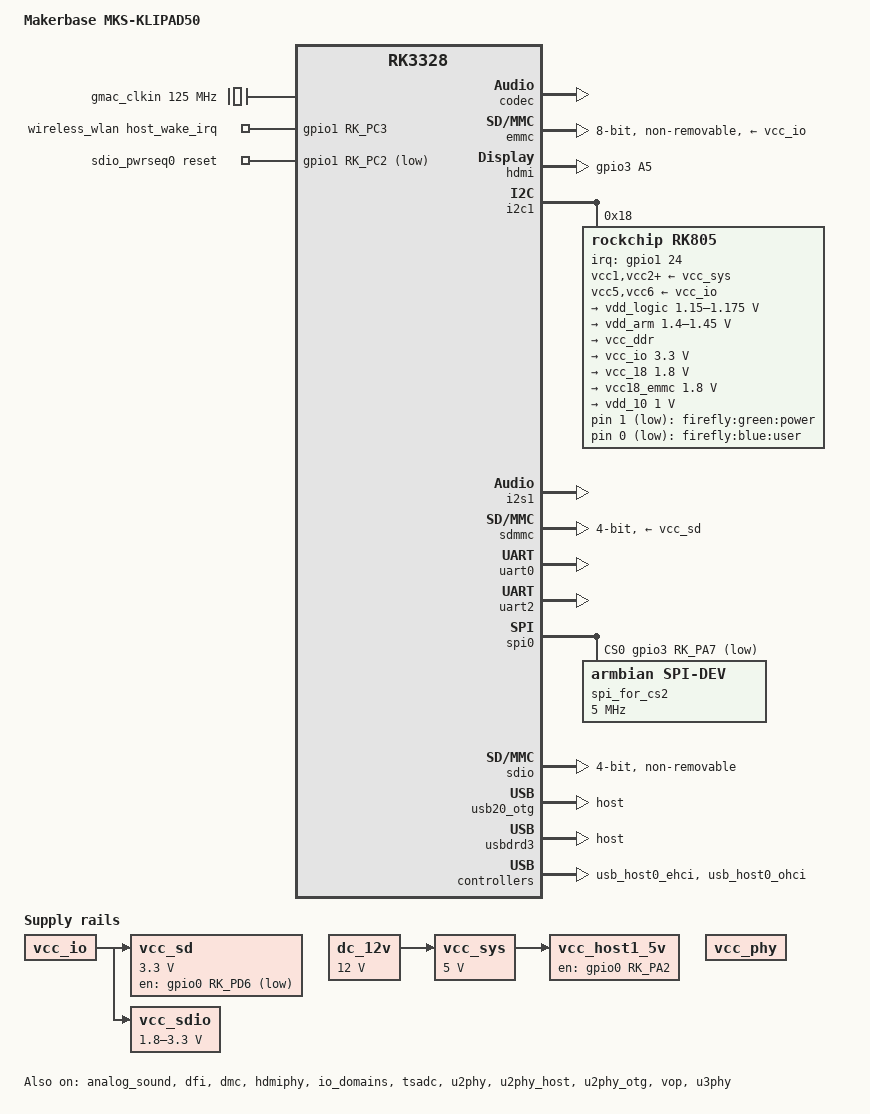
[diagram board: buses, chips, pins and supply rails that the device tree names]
// SPDX-License-Identifier: (GPL-2.0+ OR MIT)
/*
 * Based on rk3328-roc-cc.dtb from original MKS-Klipad50 image
 *
 * Copyright (c) 2025 Thorsten Maerz
 */

/dts-v1/;
#include "rk3328-dram-renegade-timing.dtsi"
#include "rk3328.dtsi"

/ {
	model = "Makerbase MKS-KLIPAD50";
	compatible = "mks,rk3328-mksklipad50", "mks,rk3328-mkspi", "rockchip,rk3328";

	aliases {
		ethernet0 = &gmac2io;
		ethernet1 = &gmac2phy;
		mmc0 = &sdmmc;
		mmc1 = &emmc;
	};

	chosen {
		stdout-path = "serial2:1500000n8";
	};

	/delete-node/ dmc-opp-table;
	dmc_opp_table: dmc-opp-table {
		compatible = "operating-points-v2";

		opp-786000000 {
			opp-hz = /bits/ 64 <786000000>;
			opp-microvolt = <1075000 1075000 12000000>;
			status = "disabled";
		};
		opp-798000000 {
			opp-hz = /bits/ 64 <798000000>;
			opp-microvolt = <1075000 1075000 12000000>;
			status = "disabled";
		};
		opp-840000000 {
			opp-hz = /bits/ 64 <840000000>;
			opp-microvolt = <1075000 1075000 12000000>;
		};
		opp-924000000 {
			opp-hz = /bits/ 64 <924000000>;
			opp-microvolt = <1100000 1100000 12000000>;
		};
		opp-1068000000 {
			opp-hz = /bits/ 64 <1068000000>;
			opp-microvolt = <1175000 1175000 12000000>;
		};
	};

	gmac_clkin: external-gmac-clock {
		compatible = "fixed-clock";
		clock-frequency = <125000000>;
		clock-output-names = "gmac_clkin";
		#clock-cells = <0>;
	};

	dc_12v: dc-12v {
		compatible = "regulator-fixed";
		regulator-name = "dc_12v";
		regulator-always-on;
		regulator-boot-on;
		regulator-min-microvolt = <12000000>;
		regulator-max-microvolt = <12000000>;
	};

	vcc_sd: sdmmc-regulator {
		compatible = "regulator-fixed";
		gpio = <&gpio0 RK_PD6 GPIO_ACTIVE_HIGH>;
		pinctrl-names = "default";
		pinctrl-0 = <&sdmmc0m1_pin>;
		regulator-boot-on;
		regulator-name = "vcc_sd";
		regulator-min-microvolt = <3300000>;
		regulator-max-microvolt = <3300000>;
		vin-supply = <&vcc_io>;
	};

	vcc_sdio: sdmmcio-regulator {
		compatible = "regulator-gpio";
		gpios = <&gpio2 RK_PC4 GPIO_ACTIVE_HIGH>;
		pinctrl-0 = <&sdio_vcc_pin>;
		pinctrl-names = "default";
		states = <1800000 0x0>,
			 <3300000 0x1>;
		regulator-name = "vcc_sdio";
		regulator-type = "voltage";
		regulator-min-microvolt = <1800000>;
		regulator-settling-time-us = <5000>;
		startup-delay-us = <2000>;
		regulator-max-microvolt = <3300000>;
		regulator-always-on;
		vin-supply = <&vcc_io>;
	};

	vcc_host1_5v: vcc_otg_5v: vcc-host1-5v-regulator {
		compatible = "regulator-fixed";
		enable-active-high;
		gpio = <&gpio0 RK_PA2 GPIO_ACTIVE_HIGH>;
		pinctrl-names = "default";
		pinctrl-0 = <&usb20_host_drv>;
		regulator-name = "vcc_host1_5v";
		regulator-always-on;
		vin-supply = <&vcc_sys>;
	};

	vcc_sys: vcc-sys {
		compatible = "regulator-fixed";
		regulator-name = "vcc_sys";
		regulator-always-on;
		regulator-boot-on;
		regulator-min-microvolt = <5000000>;
		regulator-max-microvolt = <5000000>;
		vin-supply = <&dc_12v>;
	};

	vcc_phy: vcc-phy-regulator {
		compatible = "regulator-fixed";
		regulator-name = "vcc_phy";
		regulator-always-on;
		regulator-boot-on;
	};

	leds {
		compatible = "gpio-leds";

		power_led: led-0 {
			label = "firefly:green:power";
			linux,default-trigger = "heartbeat";
			gpios = <&rk805 1 GPIO_ACTIVE_LOW>;
			default-state = "on";
			mode = <0x23>;
		};

		user_led: led-1 {
			label = "firefly:blue:user";
			linux,default-trigger = "activity";
			gpios = <&rk805 0 GPIO_ACTIVE_LOW>;
			default-state = "off";
			mode = <0x05>;
		};
	};

	usb3phy_grf: syscon@ff460000 {
		compatible = "rockchip,usb3phy-grf", "syscon";
		reg = <0x0 0xff460000 0x0 0x1000>;
	};

	u3phy: usb3-phy@ff470000 {
		compatible = "rockchip,rk3328-u3phy";
		reg = <0x0 0xff470000 0x0 0x0>;
		rockchip,u3phygrf = <&usb3phy_grf>;
		rockchip,grf = <&grf>;
		interrupts = <GIC_SPI 77 IRQ_TYPE_LEVEL_HIGH>;
		interrupt-names = "linestate";
		clocks = <&cru PCLK_USB3PHY_OTG>, <&cru PCLK_USB3PHY_PIPE>;
		clock-names = "u3phy-otg", "u3phy-pipe";
		resets = <&cru SRST_USB3PHY_U2>,
			 <&cru SRST_USB3PHY_U3>,
			 <&cru SRST_USB3PHY_PIPE>,
			 <&cru SRST_USB3OTG_UTMI>,
			 <&cru SRST_USB3PHY_OTG_P>,
			 <&cru SRST_USB3PHY_PIPE_P>;
		reset-names = "u3phy-u2-por", "u3phy-u3-por",
			      "u3phy-pipe-mac", "u3phy-utmi-mac",
			      "u3phy-utmi-apb", "u3phy-pipe-apb";
		#address-cells = <2>;
		#size-cells = <2>;
		ranges;
		status = "okay";

		u3phy_utmi: utmi@ff470000 {
			reg = <0x0 0xff470000 0x0 0x8000>;
			#phy-cells = <0>;
			status = "okay";
		};

		u3phy_pipe: pipe@ff478000 {
			reg = <0x0 0xff478000 0x0 0x8000>;
			#phy-cells = <0>;
			status = "okay";
		};
	};

	wireless_wlan: wireless-wlan {
		compatible = "wlan-platdata";
		rockchip,grf = <&grf>;
		sdio_vref = <3300>;
		status = "okay";
		WIFI,host_wake_irq = <&gpio1 RK_PC3 GPIO_ACTIVE_HIGH>;
		wifi_chip_type = "rtl8723bs";
	};

	sdio_pwrseq0: sdio_pwrseq0 {
		compatible = "mmc-pwrseq-simple";
		pinctrl-names = "default";
		pinctrl-0 = <&wifi_enable_h>;
		reset-gpios = <&gpio1 RK_PC2 GPIO_ACTIVE_LOW>;
	};
};

&analog_sound {
	simple-audio-card,name = "TRS Jack";
	status = "okay";
};

&codec {
	mute-gpios = <&grf_gpio RK_PA0 GPIO_ACTIVE_LOW>;
	status = "okay";
};

&gmac2phy {
	assigned-clocks = <&cru SCLK_MAC2PHY>;
	assigned-clock-rate = <50000000>;
	assigned-clock-parents = <&cru SCLK_MAC2PHY_SRC>;
	phy-supply = <&vcc_phy>;
	status = "disabled";
};

&dfi {
	status = "okay";
};

&dmc {
	center-supply = <&vdd_logic>;
	ddr_timing = <&ddr_timing>;
	status = "okay";
};

&cpu0 {
	cpu-supply = <&vdd_arm>;
};

&cpu1 {
	cpu-supply = <&vdd_arm>;
};

&cpu2 {
	cpu-supply = <&vdd_arm>;
};

&cpu3 {
	cpu-supply = <&vdd_arm>;
};

&emmc {
	bus-width = <8>;
	cap-mmc-highspeed;
	max-frequency = <150000000>;
	mmc-ddr-1_8v;
	mmc-hs200-1_8v;
	non-removable;
	pinctrl-names = "default";
	pinctrl-0 = <&emmc_clk &emmc_cmd &emmc_bus8>;
	vmmc-supply = <&vcc_io>;
	vqmmc-supply = <&vcc18_emmc>;
	status = "okay";
};

&gmac2io {
	assigned-clocks = <&cru SCLK_MAC2IO>, <&cru SCLK_MAC2IO_EXT>;
	assigned-clock-parents = <&gmac_clkin>, <&gmac_clkin>;
	clock_in_out = "input";
	phy-supply = <&vcc_phy>;
	phy-mode = "rgmii";
	pinctrl-names = "default";
	pinctrl-0 = <&rgmiim1_pins>;
	snps,aal;
	snps,reset-gpio = <&gpio1 RK_PC2 GPIO_ACTIVE_LOW>;
	snps,reset-active-low;
	snps,reset-delays-us = <0 10000 50000>;
	snps,rxpbl = <0x4>;
	snps,txpbl = <0x4>;
	tx_delay = <0x24>;
	rx_delay = <0x18>;
	status = "disabled";
};

&gpu {
	mali-supply = <&vdd_logic>;
};

&hdmi {
	interrupts = <GIC_SPI 35 IRQ_TYPE_LEVEL_HIGH>,
		     <GIC_SPI 71 IRQ_TYPE_LEVEL_HIGH>;
	clocks = <&cru PCLK_HDMI>,
		 <&cru SCLK_HDMI_SFC>,
		 <&hdmiphy>,
		 <&cru SCLK_RTC32K>;
	clock-names = "iahb",
		      "isfr",
		      "vpll",
		      "cec";
	pinctrl-0 = <&hdmi_cec &hdmii2c_xfer &hdmi_hpd &hdmi_backlight>;
	status = "okay";
};

&hdmiphy {
	status = "okay";
};

&hdmi_sound {
	status = "disabled";
};

&i2c1 {
	status = "okay";

	rk805: pmic@18 {
		compatible = "rockchip,rk805";
		reg = <0x18>;
		interrupt-parent = <&gpio1>;
		interrupts = <24 IRQ_TYPE_LEVEL_LOW>;
		#clock-cells = <1>;
		clock-output-names = "xin32k", "rk805-clkout2";
		gpio-controller;
		#gpio-cells = <2>;
		pinctrl-names = "default";
		pinctrl-0 = <&pmic_int_l>;
		rockchip,system-power-controller;
		wakeup-source;

		vcc1-supply = <&vcc_sys>;
		vcc2-supply = <&vcc_sys>;
		vcc3-supply = <&vcc_sys>;
		vcc4-supply = <&vcc_sys>;
		vcc5-supply = <&vcc_io>;
		vcc6-supply = <&vcc_io>;

		regulators {
			vdd_logic: DCDC_REG1 {
				regulator-name = "vdd_logic";
				regulator-min-microvolt = <1150000>;
				regulator-max-microvolt = <1175000>;
				regulator-ramp-delay    = <12500>;
				regulator-always-on;
				regulator-boot-on;
				regulator-state-mem {
					regulator-on-in-suspend;
					regulator-suspend-microvolt = <1000000>;
				};
			};

			vdd_arm: DCDC_REG2 {
				regulator-name = "vdd_arm";
				regulator-min-microvolt = <1400000>;
				regulator-max-microvolt = <1450000>;
				regulator-ramp-delay    = <12500>;
				regulator-always-on;
				regulator-boot-on;
				regulator-state-mem {
					regulator-on-in-suspend;
					regulator-suspend-microvolt = <950000>;
				};
			};

			vcc_ddr: DCDC_REG3 {
				regulator-name = "vcc_ddr";
				regulator-always-on;
				regulator-boot-on;
				regulator-state-mem {
					regulator-on-in-suspend;
				};
			};

			vcc_io: DCDC_REG4 {
				regulator-name = "vcc_io";
				regulator-min-microvolt = <3300000>;
				regulator-max-microvolt = <3300000>;
				regulator-always-on;
				regulator-boot-on;
				regulator-state-mem {
					regulator-on-in-suspend;
					regulator-suspend-microvolt = <3300000>;
				};
			};

			vcc_18: LDO_REG1 {
				regulator-name = "vcc_18";
				regulator-min-microvolt = <1800000>;
				regulator-max-microvolt = <1800000>;
				regulator-always-on;
				regulator-boot-on;
				regulator-state-mem {
					regulator-on-in-suspend;
					regulator-suspend-microvolt = <1800000>;
				};
			};

			vcc18_emmc: LDO_REG2 {
				regulator-name = "vcc18_emmc";
				regulator-min-microvolt = <1800000>;
				regulator-max-microvolt = <1800000>;
				regulator-always-on;
				regulator-boot-on;
				regulator-state-mem {
					regulator-on-in-suspend;
					regulator-suspend-microvolt = <1800000>;
				};
			};

			vdd_10: LDO_REG3 {
				regulator-name = "vdd_10";
				regulator-min-microvolt = <1000000>;
				regulator-max-microvolt = <1000000>;
				regulator-always-on;
				regulator-boot-on;
				regulator-state-mem {
					regulator-on-in-suspend;
					regulator-suspend-microvolt = <1000000>;
				};
			};
		};
	};
};

&i2s1 {
	status = "okay";
};

&pwm3 {
	interrupts = <GIC_SPI 50 IRQ_TYPE_LEVEL_HIGH>;
};

&io_domains {
	status = "okay";

	vccio1-supply = <&vcc_io>;
	vccio2-supply = <&vcc18_emmc>;
	vccio3-supply = <&vcc_sdio>;
	vccio4-supply = <&vcc_io>;
	vccio5-supply = <&vcc_io>;
	vccio6-supply = <&vcc_io>;
	pmuio-supply = <&vcc_io>;
};

&pinctrl {
	pinctrl-names = "default";
	pinctrl-0 = <&rtc_32k>;

	rtc: rtc {
		rtc_32k: rtc-32k {
			rockchip,pins = <1 RK_PD4 1 &pcfg_pull_none>;
		};
	};

	pmic {
		pmic_int_l: pmic-int-l {
			rockchip,pins = <2 RK_PA6 RK_FUNC_GPIO &pcfg_pull_up>;
		};
	};

	usb2 {
		usb20_host_drv: usb20-host-drv {
			rockchip,pins = <0 RK_PA2 RK_FUNC_GPIO &pcfg_pull_none>;
		};
	};

	sd {
		sdio_vcc_pin: sdio-vcc-pin {
			rockchip,pins = <2 RK_PC4 RK_FUNC_GPIO &pcfg_pull_up>;
		};
	};


	sdio_pwrseq: sdio-pwrseq {

		wifi_enable_h: wifi-enable-h {
			rockchip,pins = <1 RK_PC2 RK_FUNC_GPIO &pcfg_pull_none>;
		};
	};

	wireless_wlan_pin: wireless-wlan {

		wifi_wake_host: wifi-wake-host {
			rockchip,pins = <1 RK_PC3 RK_FUNC_GPIO &pcfg_pull_down>;
		};
	};

	hdmi_pin {
		hdmi_backlight: hdmi-backlight {
			rockchip,pins = <3 RK_PA5 RK_FUNC_GPIO &pcfg_output_high>;
		};
	};

	spi0_cs2 {
		pinctrl_spi0_cs2: pinctrl_spi0_cs2 {
			rockchip,pins = <3 RK_PA7 RK_FUNC_GPIO &pcfg_pull_up>;
		};
	};
};

&sdmmc {
	bus-width = <4>;
	cap-mmc-highspeed;
	cap-sd-highspeed;
	disable-wp;
	max-frequency = <150000000>;
	pinctrl-names = "default";
	pinctrl-0 = <&sdmmc0_clk &sdmmc0_cmd &sdmmc0_dectn &sdmmc0_bus4>;
	sd-uhs-sdr12;
	sd-uhs-sdr25;
	sd-uhs-sdr50;
	sd-uhs-sdr104;
	vmmc-supply = <&vcc_sd>;
	vqmmc-supply = <&vcc_sdio>;
	status = "okay";
};

&spdif {
	pinctrl-0 = <&spdifm0_tx>;
	status = "disabled";
};

&spdif_out {
	status = "disabled";
};

&spdif_sound {
	status = "disabled";
};

&tsadc {
	rockchip,hw-tshut-mode = <0>;     /* tshut mode 0:CRU 1:GPIO */
	rockchip,hw-tshut-polarity = <0>; /* tshut polarity 0:LOW 1:HIGH */
	status = "okay";
};

&u2phy {
	status = "okay";
};

&u2phy_host {
	status = "okay";
};

&u2phy_otg {
	status = "okay";
};

&uart0 {
	pinctrl-0 = <&uart0_xfer &uart0_cts>;
	status = "okay";
};

&uart2 {
	status = "okay";
};

&spi0 {
	max-freq = <48000000>;
	cs-gpios = <&gpio3 RK_PA7 GPIO_ACTIVE_LOW>;
	pinctrl-0 = <&spi0m2_clk &spi0m2_tx &spi0m2_rx>;
	status = "okay";


	spi_for_cs2@0 {
		reg = <0>;
		compatible ="armbian,spi-dev";
		pinctrl-names ="default";
		pinctrl-0 = <&pinctrl_spi0_cs2>;
		spi-max-frequency = <5000000>;
		status = "okay";
	};
};

&sdio {
	pinctrl-names = "default";
	pinctrl-0 = <&sdmmc1_bus4 &sdmmc1_cmd &sdmmc1_clk>;
	mmc-pwrseq = <&sdio_pwrseq0>;
	status = "okay";
	non-removable;
	bus-width = <0x04>;
	cap-sd-highspeed;
	cap-sdio-irq;
};

&usb20_otg {
	dr_mode = "host";
	status = "okay";
};

&usbdrd3 {
	dr_mode = "host";
	status = "okay";
};

&usb_host0_ehci {
	status = "okay";
};

&usb_host0_ohci {
	status = "okay";
};

&vop {
	assigned-clocks = <&cru DCLK_LCDC>;
	assigned-clock-parents = <&cru HDMIPHY>;
	status = "okay";
};

&vop_mmu {
	status = "okay";
};

&vpu {
	status = "disabled";
};

&vdec {
	status = "disabled";
};

&rga {
	status = "disabled";
};
